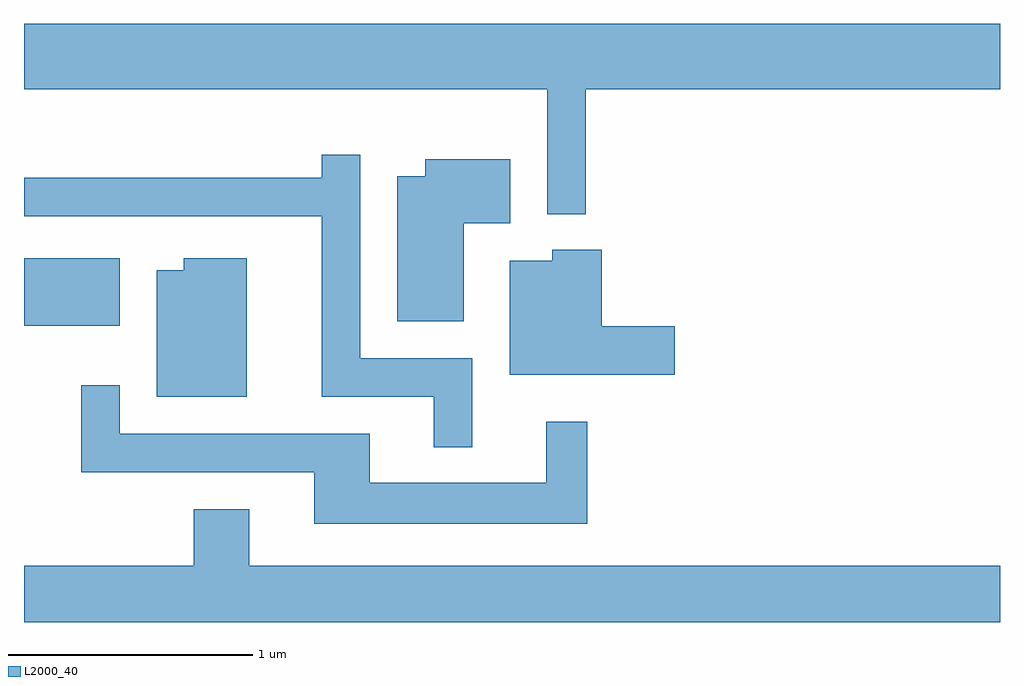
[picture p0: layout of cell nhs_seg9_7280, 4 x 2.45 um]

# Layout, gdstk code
import gdstk
lib = gdstk.Library(unit=1e-6, precision=1e-09)
def R(c, l, rs):  # rectangles x0, y0, x1, y1
    for r in rs: c.add(gdstk.rectangle(r[:2], r[2:], *l))
def P(c, l, *ps):  # polygons
    for p in ps: c.add(gdstk.Polygon(p, *l))
L2000_40 = (2000, 40)

nhs_seg9_7280 = lib.new_cell('nhs_seg9_7280')
R(nhs_seg9_7280, L2000_40, [(399.611,2079.646,400.004,2079.924)])
P(nhs_seg9_7280, L2000_40, [(401.914,2080.616),(403.611,2080.616),(403.611,2080.884),(399.611,2080.884),(399.611,2080.616),(401.756,2080.616),(401.756,2080.103),(401.914,2080.103)],
  [(401.449,2079.514),(400.989,2079.514),(400.989,2080.347),(400.831,2080.347),(400.831,2080.254),(399.611,2080.254),(399.611,2080.096),(400.831,2080.096),(400.831,2079.356),(401.291,2079.356),(401.291,2079.148),(401.449,2079.148)],
  [(401.414,2080.066),(401.604,2080.066),(401.604,2080.329),(401.256,2080.329),(401.256,2080.259),(401.141,2080.259),(401.141,2079.666),(401.414,2079.666)],
  [(402.279,2079.644),(401.979,2079.644),(401.979,2079.959),(401.776,2079.959),(401.776,2079.914),(401.601,2079.914),(401.601,2079.446),(402.279,2079.446)],
  [(400.524,2079.924),(400.266,2079.924),(400.266,2079.874),(400.156,2079.874),(400.156,2079.356),(400.524,2079.356)],
  [(401.919,2079.253),(401.751,2079.253),(401.751,2079.004),(401.029,2079.004),(401.029,2079.204),(400.004,2079.204),(400.004,2079.403),(399.846,2079.403),(399.846,2079.046),(400.801,2079.046),(400.801,2078.836),(401.919,2078.836)],
  [(403.611,2078.664),(400.534,2078.664),(400.534,2078.894),(400.306,2078.894),(400.306,2078.664),(399.611,2078.664),(399.611,2078.432),(403.611,2078.432)])

lib.write_gds('nhs_seg9_7280.gds')
